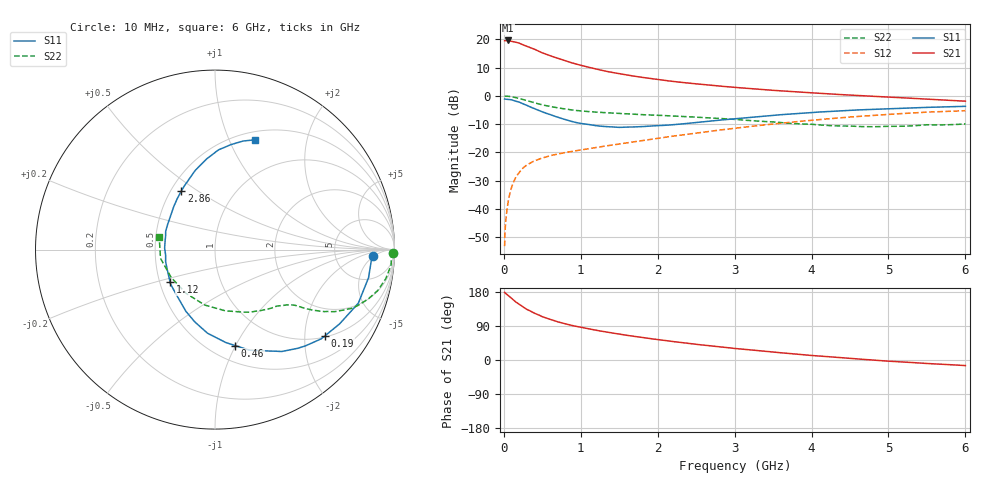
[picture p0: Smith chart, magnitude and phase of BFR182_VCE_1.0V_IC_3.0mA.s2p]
! Infineon Technologies  Discrete & RF Semiconductors
! BFR182
! VCE =  1.0 V,  IC =  3.0 mA
! Common Emitter S-Parameters:  Nov 2015
# GHz  S  MA  R  50
!  f  S11  S21  S12  S22
! GHz  MAG  ANG  MAG  ANG  MAG  ANG  MAG  ANG
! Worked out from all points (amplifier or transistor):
!   210 points, 10 MHz to 6 GHz, reference 50 ohm
!   highest |S21| = 19.6 dB at 50 MHz (marker M1)
!   |S21| within 3 dB of that: start of sweep to 387.5 MHz
!   unconditionally stable (mu >= 1): 1.231 GHz to 3.221 GHz
!   at 185 MHz: K = 0.24, MSG = 23.2 dB, |S12| = -27.7 dB
!   at 1.52 GHz: K = 1.07, MAG = 10.8 dB, |S12| = -16.9 dB
!   at 6 GHz: K = 0.92, MSG = 1.7 dB, |S12| = -5.3 dB
!   S11 on the Smith chart (normalised r, x): 10 MHz: 14, -4; 190 MHz: 1.03, -2.52; 460 MHz: 0.65, -1.00; 1.12 GHz: 0.57, -0.23; 2.86 GHz: 0.57, +0.43; 6 GHz: 0.59, +1.26
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0.01  0.8797 -2.3  9.408 178.5  0.0022 92.5  0.9925 -1.0
0.02  0.8728 -4.1  9.409 176.4  0.005 85.5  0.9828 -2.0
0.05  0.8698 -10.4  9.519 171.3  0.0119 83.4  0.9852 -4.9
0.15  0.8082 -30.8  8.932 153.9  0.0351 73.4  0.9351 -14.1
0.19  0.7785 -38.1  8.594 148.2  0.0424 69.4  0.9048 -17.0
0.24  0.7359 -46.8  8.065 141.3  0.0512 65.7  0.868 -20.3
0.3  0.6785 -56.8  7.516 133.4  0.06 62.3  0.8245 -23.5
0.4  0.5924 -71.1  6.641 123.3  0.0711 57.3  0.7513 -27.4
0.46  0.5465 -78.1  6.085 118.2  0.0761 55.4  0.7152 -28.8
0.5  0.521 -83.4  5.745 114.3  0.0795 54.2  0.6914 -29.9
0.58  0.4767 -92.6  5.238 108.8  0.0857 52.8  0.6572 -31.2
0.7  0.4187 -105.5  4.611 100.8  0.0936 51.5  0.6132 -32.7
0.9  0.3473 -124.0  3.77 90.4  0.1051 51.4  0.5593 -34.2
1.02  0.3219 -135.4  3.408 85.5  0.1113 51.5  0.5377 -35.2
1.12  0.3089 -144.2  3.157 81.5  0.1171 52.0  0.5241 -36.0
1.4  0.2829 -166.6  2.6 71.5  0.1339 52.9  0.4961 -38.7
2.02  0.2975 153.4  1.925 53.4  0.1792 54.6  0.452 -46.2
2.86  0.3774 119.7  1.465 33.6  0.2533 52.1  0.3942 -62.2
3.1  0.4037 113.3  1.377 28.7  0.2768 50.4  0.3737 -68.2
4.1  0.5168 93.6  1.108 10.5  0.3799 41.2  0.306 -104.7
5.1  0.598 80.1  0.936 -4.2  0.4791 28.6  0.2889 -152.3
6  0.6521 69.8  0.804 -14.7  0.5462 15.5  0.3186 167.3
